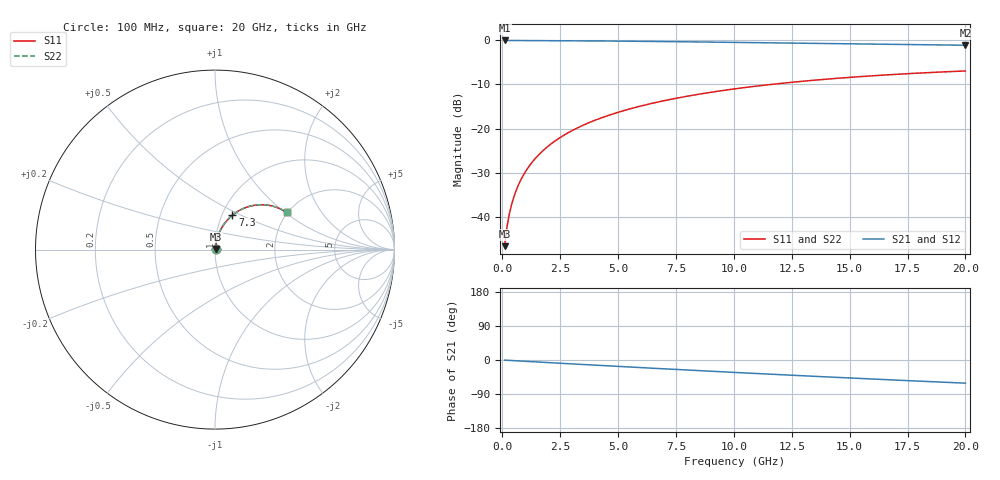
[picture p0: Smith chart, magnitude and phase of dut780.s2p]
! Touchstone file exported from HFSS 2026.1.0
!  File:  C:/ffzhzh/LocalFiles/Ansys_Project_Files/temp_train_BSMRDL_780_1783169337_18472.aedt
!  Generated:  08:50:20 PM Jul  4, 2026
!  Design:  BSMRDL
!  Project:  temp_train_BSMRDL_780_1783169337_18472
! Variables:
!  h_bsmrdl = 4.92um
!  h_ox = 20um
!  h_rdl = 5um
!  h_sub = 80um
!  h_tmrdl = 5um
!  h_tsv = 80um
!  h_via = 3um
!  l_bsmrdl = 987.74um
!  l_sub = 1387.74um
!  l_tmrdl = 200um
!  m_sub = 200um
!  pitch = 52.23um
!  r_tsv = 6um
!  s_tmrdl = 10um
!  w_bsmrdl = 25.59um
!  w_sub = 500um
!  w_tmrdl = 12um
!  x_tsv_center1 = 206um
!  x_tsv_center2 = 1219.33um
!  x_tsv_center3 = 1431.33um
!  x_tsv_center4 = 2444.66um
!  x_tsv_center5 = 2656.66um
!  x_tsv_center6 = 3669.99um
# GHz S MA R 50.000000
! Terminal data exported
! Port[1] = BSM_RDL1_1_T1
! Port[2] = BSM_RDL1_1_T2
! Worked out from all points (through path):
!   200 points, 100 MHz to 20 GHz, reference 50 ohm
!   highest |S21| = -0.03 dB at 100 MHz (marker M1); lowest = -1.1 dB at 20 GHz (marker M2)
!   group delay of S21, straight-line fit = 8.48 ps
!   lowest |S11| = -46.7 dB at 100 MHz (marker M3), VSWR 1.01, Z = 50.3 + j0.354 ohm
!   |S11| at or under -10 dB: start of sweep to 11.61 GHz
!   |S22| runs from -46.7 to -6.9 dB; largest |S21 - S12| = 2.5e-14
!   S11 on the Smith chart (normalised r, x): 100 MHz: 1.01, +0.01; 7.3 GHz: 1.12, +0.45; 20 GHz: 1.98, +1.02
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0.1  0.00464 49.3  0.997 -0.4  0.997 -0.4  0.00464 49.3
! Gamma 0 0 0 0
! Port Impedance 50 0 50 0
0.2  0.007596 63.9  0.9967 -0.7  0.9967 -0.7  0.007596 63.9
0.3  0.01063 70.0  0.9965 -1.1  0.9965 -1.1  0.01063 70.0
0.4  0.0137 73.4  0.9963 -1.4  0.9963 -1.4  0.0137 73.4
0.5  0.01678 75.6  0.9962 -1.7  0.9962 -1.7  0.01678 75.6
0.7  0.02301 78.0  0.9959 -2.4  0.9959 -2.4  0.02301 78.0
1  0.03244 79.4  0.9955 -3.5  0.9955 -3.5  0.03244 79.4
1.2  0.03873 79.7  0.9951 -4.1  0.9951 -4.1  0.03873 79.7
1.4  0.04502 79.7  0.9947 -4.8  0.9947 -4.8  0.04501 79.7
1.7  0.05441 79.4  0.994 -5.9  0.994 -5.9  0.05441 79.4
2  0.06375 78.8  0.9932 -6.9  0.9932 -6.9  0.06375 78.8
2.7  0.08528 77.0  0.9908 -9.3  0.9908 -9.3  0.08528 77.0
3.5  0.1093 74.7  0.9876 -11.9  0.9876 -11.9  0.1093 74.7
4.2  0.1299 72.6  0.9844 -14.3  0.9844 -14.3  0.1299 72.6
5  0.1528 70.1  0.9804 -16.9  0.9804 -16.9  0.1528 70.2
6.8  0.202 64.6  0.9701 -22.7  0.9701 -22.7  0.202 64.7
7.3  0.2151 63.1  0.9669 -24.3  0.9669 -24.3  0.2151 63.1
8.6  0.2478 59.2  0.9584 -28.4  0.9584 -28.4  0.2478 59.2
10.1  0.2833 54.7  0.948 -33.0  0.948 -33.0  0.2833 54.8
13.4  0.3519 45.2  0.9241 -42.9  0.9241 -42.9  0.3519 45.3
16.7  0.4073 36.1  0.9009 -52.2  0.9009 -52.2  0.4073 36.2
20  0.4497 27.4  0.8806 -61.1  0.8806 -61.1  0.4497 27.5
